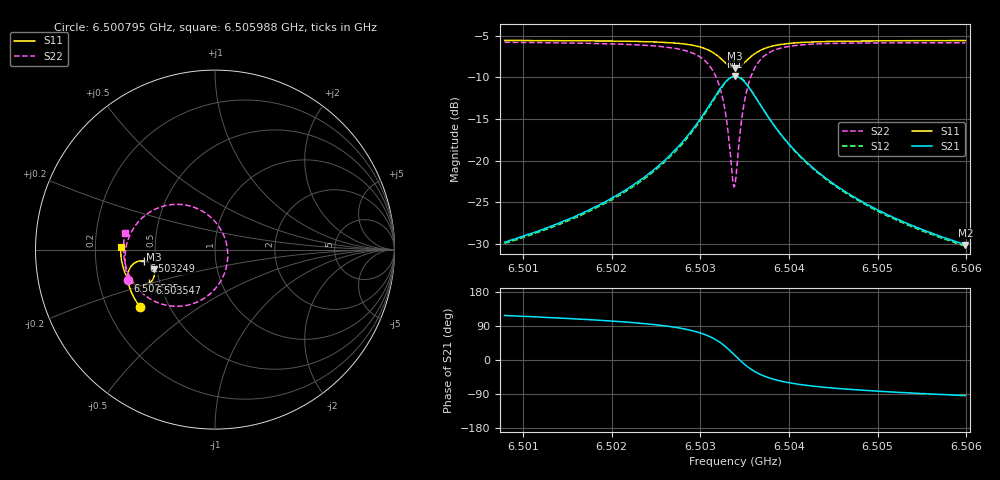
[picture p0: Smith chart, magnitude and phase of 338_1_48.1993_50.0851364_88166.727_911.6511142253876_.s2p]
#  HZ  S  RI  R  50.00
! Rohde & Schwarz Vector Network Analyzer
! Rohde-Schwarz,ZNB20-2Port,1311601062101988,3.16
! Created: UTC 3/20/2024, 11:51:10 AM
! freq[Hz]  re:S11  im:S11  re:S21  im:S21  re:S12  im:S12  re:S22  im:S22
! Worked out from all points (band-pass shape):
!   401 points, 6.500795 GHz to 6.505988 GHz, reference 50 ohm
!   highest |S21| = -9.87 dB at 6.503391 GHz (marker M1); lowest = -30.1 dB at 6.505988 GHz (marker M2)
!   |S21| within 3 dB of the highest: 6.503132 GHz to 6.503651 GHz (519.3 kHz wide, 0.00798 % of centre)
!   lowest |S11| = -8.9 dB at 6.503391 GHz (marker M3), VSWR 2.11, Z = 24.1 - j6.12 ohm
!   |S11| at or under -10 dB: nowhere
!   |S22| runs from -23.2 to -5.8 dB; largest |S21 - S12| = 0.011
!   S11 on the Smith chart (normalised r, x): 6.500795 GHz: 0.34, -0.30; 6.502535 GHz: 0.33, -0.15; 6.503249 GHz: 0.43, -0.06; 6.503547 GHz: 0.44, -0.20; 6.505988 GHz: 0.31, +0.01
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6.500795e9  -0.4191 -0.3188  -0.015 0.0288  -0.0133 0.029  -0.4853 -0.168
6.5016648e9  -0.4576 -0.2559  -0.0146 0.046  -0.0123 0.0457  -0.5008 -0.0781
6.5021581e9  -0.4754 -0.2129  -0.0117 0.0657  -0.00878 0.0647  -0.4991 -0.00991
6.5025346e9  -0.4849 -0.1724  -0.00337 0.0937  0.000319 0.0915  -0.4813 0.0628
6.5028332e9  -0.4835 -0.1289  0.02 0.1344  0.0239 0.1304  -0.4326 0.1482
6.5030279e9  -0.4668 -0.0918  0.066 0.1749  0.069 0.1691  -0.3437 0.2201
6.5031578e9  -0.4353 -0.0675  0.1343 0.1974  0.1354 0.1912  -0.22 0.2522
6.5032486e9  -0.3977 -0.0624  0.2093 0.1877  0.2097 0.1824  -0.0895 0.2243
6.5033006e9  -0.3727 -0.0709  0.2571 0.1602  0.2579 0.1558  -0.0107 0.1681
6.5033655e9  -0.3465 -0.0965  0.3037 0.098  0.3063 0.0931  0.06 0.0483
6.5033914e9  -0.3403 -0.1107  0.3138 0.0667  0.3168 0.0607  0.0705 -0.0103
6.5034044e9  -0.3384 -0.1182  0.3164 0.0502  0.3196 0.0439  0.0711 -0.0401
6.5034563e9  -0.3393 -0.1484  0.311 -0.0139  0.3136 -0.0226  0.0436 -0.1539
6.5034823e9  -0.3443 -0.1621  0.3 -0.0424  0.3017 -0.0521  0.0147 -0.2017
6.5035472e9  -0.3649 -0.1871  0.2582 -0.0952  0.2571 -0.106  -0.0792 -0.2822
6.5036511e9  -0.4036 -0.2018  0.1856 -0.1307  0.1803 -0.1398  -0.2252 -0.3155
6.5038198e9  -0.4488 -0.1921  0.106 -0.128  0.0991 -0.1327  -0.3684 -0.2703
6.5040016e9  -0.4757 -0.1707  0.0627 -0.1086  0.0566 -0.1109  -0.4389 -0.2068
6.5042612e9  -0.4963 -0.1406  0.0333 -0.0852  0.0286 -0.0856  -0.4815 -0.1358
6.5046507e9  -0.5118 -0.1007  0.0147 -0.0627  0.0114 -0.0623  -0.5037 -0.0617
6.505131e9  -0.5212 -0.0568  0.00499 -0.0466  0.00277 -0.046  -0.5096 0.00396
6.5059878e9  -0.5258 0.0151  -0.00211 -0.0312  -0.00351 -0.0305  -0.5012 0.0928
